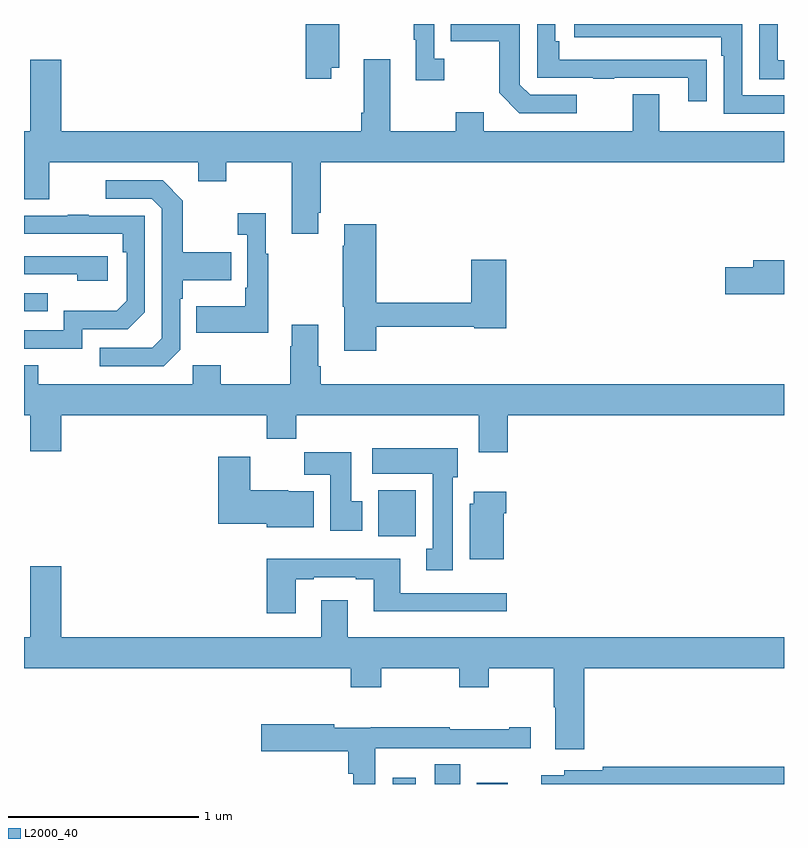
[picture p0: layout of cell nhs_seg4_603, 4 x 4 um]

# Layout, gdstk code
import gdstk
lib = gdstk.Library(unit=1e-6, precision=1e-09)
def R(c, l, rs):  # rectangles x0, y0, x1, y1
    for r in rs: c.add(gdstk.rectangle(r[:2], r[2:], *l))
def P(c, l, *ps):  # polygons
    for p in ps: c.add(gdstk.Polygon(p, *l))
L2000_40 = (2000, 40)

nhs_seg4_603 = lib.new_cell('nhs_seg4_603')
R(nhs_seg4_603, L2000_40, [(142.94,774.9,143.062,774.934), (143.162,774.9,143.296,775.004), (143.384,774.9,143.545,774.907), (142.865,776.204,143.062,776.446), (141,777.387,141.125,777.483)])
P(nhs_seg4_603, L2000_40, [(143.908,778.527),(143.664,778.527),(143.61,778.581),(143.61,778.9),(143.245,778.9),(143.245,778.81),(143.502,778.81),(143.502,778.537),(143.607,778.431),(143.908,778.431)],
  [(142.618,778.67),(142.659,778.67),(142.659,778.9),(142.484,778.9),(142.484,778.611),(142.618,778.611)],
  [(143.212,778.718),(143.16,778.718),(143.16,778.9),(143.052,778.9),(143.052,778.817),(143.063,778.817),(143.063,778.605),(143.212,778.605)],
  [(145,778.524),(144.78,778.524),(144.78,778.9),(143.895,778.9),(143.895,778.83),(144.671,778.83),(144.671,778.733),(144.684,778.733),(144.684,778.428),(145,778.428)],
  [(144.593,778.712),(144.491,778.712),(144.491,778.713),(143.816,778.713),(143.816,778.81),(143.796,778.81),(143.796,778.9),(143.7,778.9),(143.7,778.617),(143.995,778.617),(143.995,778.612),(144.107,778.612),(144.107,778.617),(144.497,778.617),(144.497,778.494),(144.593,778.494)],
  [(145,778.71),(144.966,778.71),(144.966,778.9),(144.87,778.9),(144.87,778.609),(145,778.609)],
  [(142.549,777.907),(142.562,777.907),(142.562,778.172),(145,778.172),(145,778.336),(144.343,778.336),(144.343,778.531),(144.203,778.531),(144.203,778.336),(143.419,778.336),(143.419,778.435),(143.272,778.435),(143.272,778.336),(142.927,778.336),(142.927,778.714),(142.787,778.714),(142.787,778.432),(142.775,778.432),(142.775,778.336),(141.196,778.336),(141.196,778.711),(141.032,778.711),(141.032,778.336),(141,778.336),(141,777.978),(141.133,777.978),(141.133,778.172),(141.917,778.172),(141.917,778.073),(142.065,778.073),(142.065,778.172),(142.409,778.172),(142.409,777.795),(142.549,777.795)],
  [(141.822,777.186),(141.822,777.455),(141.835,777.455),(141.835,777.551),(142.091,777.551),(142.091,777.699),(141.835,777.699),(141.835,777.971),(141.729,778.077),(141.429,778.077),(141.429,777.981),(141.672,777.981),(141.726,777.927),(141.726,777.246),(141.675,777.195),(141.399,777.195),(141.399,777.099),(141.735,777.099)],
  [(142.285,777.691),(142.273,777.691),(142.273,777.904),(142.125,777.904),(142.125,777.791),(142.176,777.791),(142.176,777.511),(142.164,777.511),(142.164,777.415),(141.907,777.415),(141.907,777.275),(142.285,777.275)],
  [(141.306,777.294),(141.546,777.294),(141.636,777.384),(141.636,777.891),(141.341,777.891),(141.341,777.896),(141.229,777.896),(141.229,777.891),(141,777.891),(141,777.795),(141.52,777.795),(141.52,777.698),(141.54,777.698),(141.54,777.444),(141.487,777.391),(141.21,777.391),(141.21,777.288),(141,777.288),(141,777.192),(141.306,777.192)],
  [(142.853,777.306),(143.37,777.306),(143.37,777.298),(143.537,777.298),(143.537,777.658),(143.354,777.658),(143.354,777.434),(142.853,777.434),(142.853,777.847),(142.685,777.847),(142.685,777.734),(142.678,777.734),(142.678,777.411),(142.685,777.411),(142.685,777.18),(142.853,777.18)],
  [(141.442,777.678),(141,777.678),(141,777.582),(141.281,777.582),(141.281,777.548),(141.442,777.548)],
  [(145,777.656),(144.839,777.656),(144.839,777.62),(144.69,777.62),(144.69,777.478),(145,777.478)],
  [(142.433,776.84),(143.393,776.84),(143.393,776.646),(143.546,776.646),(143.546,776.84),(145,776.84),(145,777.004),(142.562,777.004),(142.562,777.1),(142.549,777.1),(142.549,777.316),(142.409,777.316),(142.409,777.203),(142.402,777.203),(142.402,777.004),(142.035,777.004),(142.035,777.103),(141.888,777.103),(141.888,777.004),(141.075,777.004),(141.075,777.103),(141,777.103),(141,776.84),(141.032,776.84),(141.032,776.652),(141.196,776.652),(141.196,776.84),(142.277,776.84),(142.277,776.716),(142.433,776.716)],
  [(143.257,776.514),(143.284,776.514),(143.284,776.668),(142.833,776.668),(142.833,776.534),(143.15,776.534),(143.15,776.138),(143.117,776.138),(143.117,776.025),(143.257,776.025)],
  [(142.78,776.388),(142.723,776.388),(142.723,776.647),(142.474,776.647),(142.474,776.528),(142.613,776.528),(142.613,776.232),(142.78,776.232)],
  [(142.525,776.44),(142.392,776.44),(142.392,776.446),(142.192,776.446),(142.192,776.623),(142.022,776.623),(142.022,776.27),(142.278,776.27),(142.278,776.252),(142.525,776.252)],
  [(143.524,776.324),(143.537,776.324),(143.537,776.437),(143.366,776.437),(143.366,776.376),(143.345,776.376),(143.345,776.084),(143.524,776.084)],
  [(142.429,775.977),(142.525,775.977),(142.525,775.989),(142.745,775.989),(142.745,775.977),(142.841,775.977),(142.841,775.808),(143.542,775.808),(143.542,775.905),(142.981,775.905),(142.981,776.086),(142.277,776.086),(142.277,775.8),(142.429,775.8)],
  [(143.948,775.508),(145,775.508),(145,775.672),(142.705,775.672),(142.705,775.867),(142.565,775.867),(142.565,775.672),(141.196,775.672),(141.196,776.047),(141.032,776.047),(141.032,775.672),(141,775.672),(141,775.508),(142.721,775.508),(142.721,775.409),(142.881,775.409),(142.881,775.508),(143.29,775.508),(143.29,775.409),(143.445,775.409),(143.445,775.508),(143.788,775.508),(143.788,775.304),(143.795,775.304),(143.795,775.083),(143.948,775.083)],
  [(142.848,775.088),(143.058,775.088),(143.058,775.089),(143.392,775.089),(143.392,775.088),(143.668,775.088),(143.668,775.198),(143.555,775.198),(143.555,775.188),(143.24,775.188),(143.24,775.198),(142.824,775.198),(142.824,775.195),(142.632,775.195),(142.632,775.215),(142.248,775.215),(142.248,775.073),(142.706,775.073),(142.706,774.953),(142.732,774.953),(142.732,774.9),(142.848,774.9)],
  [(145,774.992),(144.046,774.992),(144.046,774.972),(143.844,774.972),(143.844,774.946),(143.723,774.946),(143.723,774.9),(145,774.9)])

lib.write_gds('nhs_seg4_603.gds')
